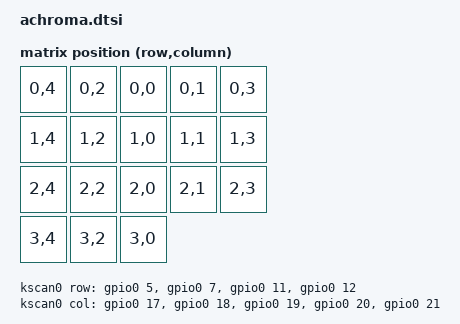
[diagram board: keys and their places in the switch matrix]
#include <dt-bindings/zmk/matrix_transform.h>

/ {
    kscan0: kscan0 {
        compatible = "zmk,kscan-gpio-matrix";
        diode-direction = "col2row";
        wakeup-source;

        col-gpios
            = <&gpio0 17 GPIO_ACTIVE_HIGH>
            , <&gpio0 18 GPIO_ACTIVE_HIGH>
            , <&gpio0 19 GPIO_ACTIVE_HIGH>
            , <&gpio0 20 GPIO_ACTIVE_HIGH>
            , <&gpio0 21 GPIO_ACTIVE_HIGH>
            ;

        row-gpios
            = <&gpio0 5  (GPIO_ACTIVE_HIGH | GPIO_PULL_DOWN)>
            , <&gpio0 7  (GPIO_ACTIVE_HIGH | GPIO_PULL_DOWN)>
            , <&gpio0 11 (GPIO_ACTIVE_HIGH | GPIO_PULL_DOWN)>
            , <&gpio0 12 (GPIO_ACTIVE_HIGH | GPIO_PULL_DOWN)>
            ;
    };

    default_transform: keymap_transform_0 {
        compatible = "zmk,matrix-transform";

        columns = <5>;
        rows = <4>;

        map = <
            RC(0,4) RC(0,2) RC(0,0) RC(0,1) RC(0,3)
            RC(1,4) RC(1,2) RC(1,0) RC(1,1) RC(1,3)
            RC(2,4) RC(2,2) RC(2,0) RC(2,1) RC(2,3)
            RC(3,4) RC(3,2) RC(3,0)
        >;
    };

    physical_layout_split: physical_layout_0 {
        compatible = "zmk,physical-layout";
        display-name = "Achroma";

        kscan = <&kscan0>;
        transform = <&default_transform>;
    };
};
